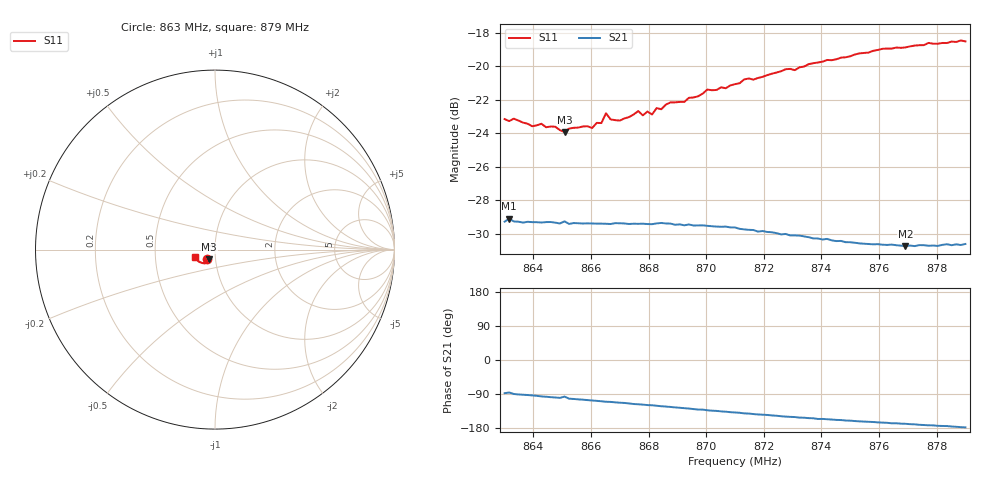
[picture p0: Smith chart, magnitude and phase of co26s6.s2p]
# HZ S RI R 50
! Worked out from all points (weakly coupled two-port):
!   101 points, 863 MHz to 879 MHz, reference 50 ohm
!   highest |S21| = -29.11 dB at 863.16 MHz (marker M1); lowest = -30.7 dB at 876.92 MHz (marker M2)
!   lowest |S11| = -23.9 dB at 865.08 MHz (marker M3), VSWR 1.14, Z = 46.6 - j5.14 ohm
!   |S11| at or under -10 dB: start of sweep to end of sweep
!   S12 and S22 are empty: the file has one direction only
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8.63e8  -0.0447 -0.0533  0.0015 -0.0343  0 0  0 0
8.6316e8  -0.0419 -0.0544  0.00258 -0.035  0 0  0 0
8.6332e8  -0.0441 -0.0541  0.000212 -0.0344  0 0  0 0
8.6396e8  -0.0404 -0.0524  -0.00208 -0.0342  0 0  0 0
8.6428e8  -0.0388 -0.0551  -0.0036 -0.034  0 0  0 0
8.6508e8  -0.0322 -0.0549  -0.00393 -0.0342  0 0  0 0
8.6572e8  -0.0341 -0.0566  -0.00859 -0.0328  0 0  0 0
8.6604e8  -0.0336 -0.0561  -0.00983 -0.0325  0 0  0 0
8.6636e8  -0.0357 -0.0575  -0.011 -0.032  0 0  0 0
8.6652e8  -0.0398 -0.0605  -0.0117 -0.0318  0 0  0 0
8.6668e8  -0.0348 -0.0601  -0.0119 -0.0316  0 0  0 0
8.67e8  -0.0335 -0.0602  -0.0131 -0.0313  0 0  0 0
8.6764e8  -0.0353 -0.0645  -0.0153 -0.0302  0 0  0 0
8.678e8  -0.0338 -0.0629  -0.0158 -0.03  0 0  0 0
8.6844e8  -0.0352 -0.0656  -0.018 -0.0289  0 0  0 0
8.6876e8  -0.0369 -0.0687  -0.0189 -0.0281  0 0  0 0
8.7004e8  -0.0433 -0.0734  -0.0226 -0.0245  0 0  0 0
8.71e8  -0.0478 -0.0744  -0.0247 -0.0219  0 0  0 0
8.7372e8  -0.0685 -0.0758  -0.0275 -0.0135  0 0  0 0
8.7644e8  -0.0937 -0.063  -0.0286 -0.00656  0 0  0 0
8.7692e8  -0.0977 -0.0586  -0.0284 -0.00587  0 0  0 0
8.79e8  -0.1122 -0.0389  -0.0294 -0.00114  0 0  0 0
